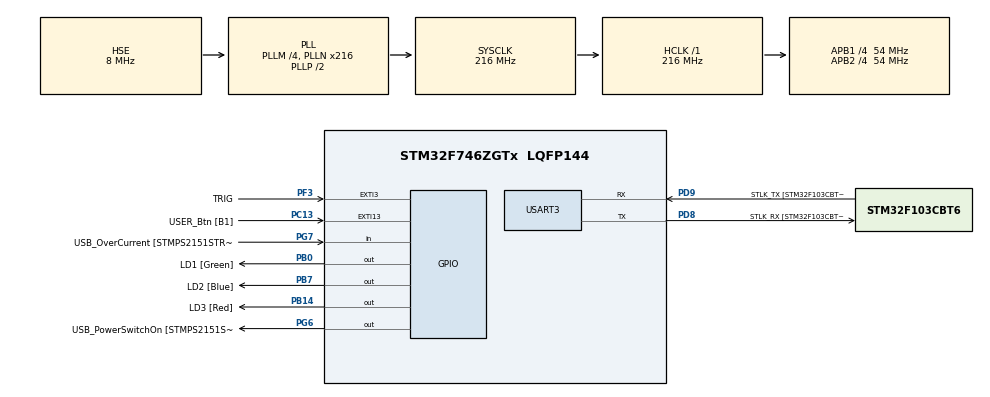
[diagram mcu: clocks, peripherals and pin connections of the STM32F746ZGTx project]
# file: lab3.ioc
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Mcu.Family=STM32F7
Mcu.Name=STM32F746ZGTx
Mcu.Package=LQFP144
NVIC.EXTI15_10_IRQn=true\:0\:0\:false\:false\:true\:true\:true\:true
NVIC.PriorityGroup=NVIC_PRIORITYGROUP_4
NVIC.TIM1_TRG_COM_TIM11_IRQn=true\:0\:0\:false\:false\:true\:true\:true\:true
NVIC.TIM7_IRQn=true\:0\:0\:false\:false\:true\:true\:true\:true
PA1.GPIO_Label=RMII_REF_CLK [LAN8742A-CZ-TR_REFCLK0]
PA1.Signal=ETH_REF_CLK
PA10.GPIO_Label=USB_ID
PA10.Signal=USB_OTG_FS_ID
PA11.GPIO_Label=USB_DM
PA11.Signal=USB_OTG_FS_DM
PA12.GPIO_Label=USB_DP
PA12.Signal=USB_OTG_FS_DP
PA13.GPIO_Label=TMS
PA13.Mode=Serial_Wire
PA13.Signal=SYS_JTMS-SWDIO
PA14.GPIO_Label=TCK
PA14.Mode=Serial_Wire
PA14.Signal=SYS_JTCK-SWCLK
PA2.GPIO_Label=RMII_MDIO [LAN8742A-CZ-TR_MDIO]
PA2.Signal=ETH_MDIO
PA7.GPIO_Label=RMII_CRS_DV [LAN8742A-CZ-TR_CRS_DV]
PA7.Signal=ETH_CRS_DV
PA8.GPIO_Label=USB_SOF [TP1]
PA8.Signal=USB_OTG_FS_SOF
PA9.GPIO_Label=USB_VBUS
PA9.Signal=USB_OTG_FS_VBUS
PB0.GPIO_Label=LD1 [Green]
PB0.Signal=GPIO_Output
PB13.GPIO_Label=RMII_TXD1 [LAN8742A-CZ-TR_TXD1]
PB13.Signal=ETH_TXD1
PB14.GPIO_Label=LD3 [Red]
PB14.Signal=GPIO_Output
PB3.GPIO_Label=SW0
PB3.Signal=SYS_JTDO-SWO
PB7.GPIO_Label=LD2 [Blue]
PB7.Signal=GPIO_Output
PC1.GPIO_Label=RMII_MDC [LAN8742A-CZ-TR_MDC]
PC1.Signal=ETH_MDC
PC13.GPIO_Label=USER_Btn [B1]
PC13.Signal=GPXTI13
PC14/OSC32_IN.Mode=LSE-External-Oscillator
PC14/OSC32_IN.Signal=RCC_OSC32_IN
PC15/OSC32_OUT.Mode=LSE-External-Oscillator
PC15/OSC32_OUT.Signal=RCC_OSC32_OUT
PC4.GPIO_Label=RMII_RXD0 [LAN8742A-CZ-TR_RXD0]
PC4.Signal=ETH_RXD0
PC5.GPIO_Label=RMII_RXD1 [LAN8742A-CZ-TR_RXD1]
PC5.Signal=ETH_RXD1
PD8.GPIO_Label=STLK_RX [STM32F103CBT6_PA3]
PD8.GPIO_PuPd=GPIO_PULLUP
PD8.Mode=Asynchronous
PD8.Signal=USART3_TX
PD9.GPIO_Label=STLK_TX [STM32F103CBT6_PA2]
PD9.GPIO_PuPd=GPIO_PULLUP
PD9.Mode=Asynchronous
PD9.Signal=USART3_RX
PF3.GPIO_Label=TRIG
PF3.Signal=GPXTI3
PG11.GPIO_Label=RMII_TX_EN [LAN8742A-CZ-TR_TXEN]
PG11.Signal=ETH_TX_EN
PG13.GPIO_Label=RMII_TXD0 [LAN8742A-CZ-TR_TXD0]
PG13.Signal=ETH_TXD0
PG6.GPIO_Label=USB_PowerSwitchOn [STMPS2151STR_EN]
PG6.Signal=GPIO_Output
PG7.GPIO_Label=USB_OverCurrent [STMPS2151STR_FAULT]
PG7.Signal=GPIO_Input
PH0/OSC_IN.GPIO_Label=MCO [STM32F103CBT6_PA8]
PH0/OSC_IN.Mode=HSE-External-Clock-Source
PH0/OSC_IN.Signal=RCC_OSC_IN
PH1/OSC_OUT.Mode=HSE-External-Clock-Source
PH1/OSC_OUT.Signal=RCC_OSC_OUT
ProjectManager.HeapSize=0x200
ProjectManager.StackSize=0x400
ProjectManager.TargetToolchain=STM32CubeIDE
RCC.48MHZClocksFreq_Value=24000000
RCC.AHBFreq_Value=216000000
RCC.APB1CLKDivider=RCC_HCLK_DIV4
RCC.APB1Freq_Value=54000000
RCC.APB1TimFreq_Value=108000000
RCC.APB2CLKDivider=RCC_HCLK_DIV4
RCC.APB2Freq_Value=54000000
RCC.APB2TimFreq_Value=108000000
RCC.CortexFreq_Value=216000000
RCC.HCLKFreq_Value=216000000
RCC.HSE_VALUE=8000000
RCC.HSI_VALUE=16000000
RCC.PLLM=4
RCC.PLLMUL=RCC_PLL_MUL9
RCC.PLLN=216
RCC.PLLQ=3
RCC.PLLSourceVirtual=RCC_PLLSOURCE_HSE
RCC.PRESCALERUSB=RCC_USBCLKSOURCE_PLL_DIV1_5
RCC.SYSCLKFreq_VALUE=216000000
RCC.SYSCLKSource=RCC_SYSCLKSOURCE_PLLCLK
RCC.SYSCLKSourceVirtual=RCC_SYSCLKSOURCE_PLLCLK
RCC.USBFreq_Value=144000000
RCC.VCOOutputFreq_Value=432000000
TIM11.Period=100-1
TIM11.Prescaler=108-1
TIM7.Period=5000-1
TIM7.Prescaler=108-1
USART3.VirtualMode-Asynchronous=VM_ASYNC
VP_TIM11_VS_ClockSourceINT.Mode=Enable_Timer
VP_TIM7_VS_ClockSourceINT.Mode=Enable_Timer
board=NUCLEO-F746ZG

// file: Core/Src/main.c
/* USER CODE BEGIN Header */
/**
  ******************************************************************************
  * @file           : main.c
  * @brief          : Main program body
  ******************************************************************************
  * @attention
  *
  * Copyright (c) 2024 STMicroelectronics.
  * All rights reserved.
  *
  * This software is licensed under terms that can be found in the LICENSE file
  * in the root directory of this software component.
  * If no LICENSE file comes with this software, it is provided AS-IS.
  *
  ******************************************************************************
  */
#define TASK 4
/* USER CODE END Header */
#include "main.h"
#include "tim.h"
#include "usart.h"
#include "gpio.h"

/* USER CODE BEGIN Includes */
#if TASK==3
#include <stdio.h>
#endif
/* USER CODE END Includes */

/* USER CODE BEGIN PV */
#if TASK==1 || TASK==2
GPIO_PinState LD1_State;
#endif
#if TASK==3
GPIO_PinState LD1_State;
uint32_t AutoReloadRegister;
#endif
/* USER CODE END PV */

void SystemClock_Config(void);
/* USER CODE BEGIN PFP */
#if TASK==2 || TASK==3
/**
  * @brief  Period elapsed callback in non-blocking mode
  * @param  htim TIM handle
  * @retval None
  */
void HAL_TIM_PeriodElapsedCallback(TIM_HandleTypeDef *htim)
{
  /* Prevent unused argument(s) compilation warning */
  if(htim==&htim7){
	    HAL_GPIO_TogglePin(LD1_GPIO_Port, LD1_Pin);
	    LD1_State=HAL_GPIO_ReadPin(LD1_GPIO_Port, LD1_Pin);
  }

  /* NOTE : This function should not be modified, when the callback is needed,
            the HAL_TIM_PeriodElapsedCallback could be implemented in the user file
   */
}
#endif

/* USER CODE END PFP */

int main(void)
{

  /* MCU Configuration--------------------------------------------------------*/

  /* Reset of all peripherals, Initializes the Flash interface and the Systick. */
  HAL_Init();

  /* Configure the system clock */
  SystemClock_Config();

  /* Initialize all configured peripherals */
  MX_GPIO_Init();
  MX_USART3_UART_Init();
  MX_TIM7_Init();
  MX_TIM11_Init();
  /* USER CODE BEGIN 2 */
#if TASK==1
  HAL_TIM_Base_Start(&htim7);
#endif
#if TASK==2 || TASK==3
  HAL_TIM_Base_Start_IT(&htim7);
#endif
  /* USER CODE END 2 */

  /* Infinite loop */
  /* USER CODE BEGIN WHILE */
  while (1)
  {
#if TASK==1
	  if(__HAL_TIM_GET_FLAG(&htim7, TIM_FLAG_UPDATE)){
		  __HAL_TIM_CLEAR_FLAG(&htim7, TIM_FLAG_UPDATE);

		  HAL_GPIO_TogglePin(LD1_GPIO_Port, LD1_Pin);
		  LD1_State=HAL_GPIO_ReadPin(LD1_GPIO_Port, LD1_Pin);
	  }
#endif
#if TASK==3
	  uint8_t RxTimerPeriod[]="0000";

	  if(HAL_UART_Receive(&huart3, RxTimerPeriod, sizeof(RxTimerPeriod)-1, HAL_MAX_DELAY)==HAL_OK){
		  if(sscanf((char*)RxTimerPeriod, "%lu", &AutoReloadRegister)==1){
			  if(AutoReloadRegister>=1000 && AutoReloadRegister<=9999){
				   HAL_TIM_Base_Stop_IT(&htim7);
				   __HAL_TIM_SET_COUNTER(&htim7, 0);
				   __HAL_TIM_SET_AUTORELOAD(&htim7, AutoReloadRegister);
				   HAL_TIM_Base_Start_IT(&htim7);
			  }
		  }
	  }
#endif
#if TASK==4

#endif
    /* USER CODE END WHILE */

  }
}

void SystemClock_Config(void)
{
  RCC_OscInitTypeDef RCC_OscInitStruct = {0};
  RCC_ClkInitTypeDef RCC_ClkInitStruct = {0};

  /** Configure LSE Drive Capability
  */
  HAL_PWR_EnableBkUpAccess();

  /** Configure the main internal regulator output voltage
  */
  __HAL_RCC_PWR_CLK_ENABLE();
  __HAL_PWR_VOLTAGESCALING_CONFIG(PWR_REGULATOR_VOLTAGE_SCALE1);

  /** Initializes the RCC Oscillators according to the specified parameters
  * in the RCC_OscInitTypeDef structure.
  */
  RCC_OscInitStruct.OscillatorType = RCC_OSCILLATORTYPE_HSE;
  RCC_OscInitStruct.HSEState = RCC_HSE_BYPASS;
  RCC_OscInitStruct.PLL.PLLState = RCC_PLL_ON;
  RCC_OscInitStruct.PLL.PLLSource = RCC_PLLSOURCE_HSE;
  RCC_OscInitStruct.PLL.PLLM = 4;
  RCC_OscInitStruct.PLL.PLLN = 216;
  RCC_OscInitStruct.PLL.PLLP = RCC_PLLP_DIV2;
  RCC_OscInitStruct.PLL.PLLQ = 3;
  if (HAL_RCC_OscConfig(&RCC_OscInitStruct) != HAL_OK)
  {
    Error_Handler();
  }

  /** Activate the Over-Drive mode
  */
  if (HAL_PWREx_EnableOverDrive() != HAL_OK)
  {
    Error_Handler();
  }

  /** Initializes the CPU, AHB and APB buses clocks
  */
  RCC_ClkInitStruct.ClockType = RCC_CLOCKTYPE_HCLK|RCC_CLOCKTYPE_SYSCLK
                              |RCC_CLOCKTYPE_PCLK1|RCC_CLOCKTYPE_PCLK2;
  RCC_ClkInitStruct.SYSCLKSource = RCC_SYSCLKSOURCE_PLLCLK;
  RCC_ClkInitStruct.AHBCLKDivider = RCC_SYSCLK_DIV1;
  RCC_ClkInitStruct.APB1CLKDivider = RCC_HCLK_DIV4;
  RCC_ClkInitStruct.APB2CLKDivider = RCC_HCLK_DIV4;

  if (HAL_RCC_ClockConfig(&RCC_ClkInitStruct, FLASH_LATENCY_7) != HAL_OK)
  {
    Error_Handler();
  }
}

void Error_Handler(void)
{
  __disable_irq();
  while (1)
  {
  }
}
